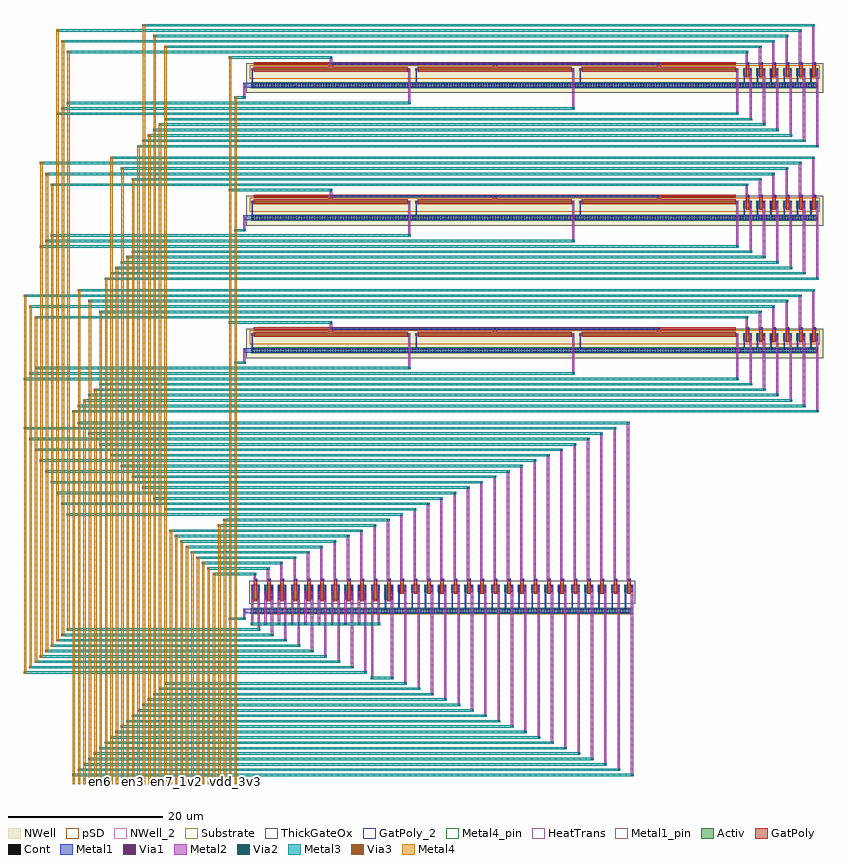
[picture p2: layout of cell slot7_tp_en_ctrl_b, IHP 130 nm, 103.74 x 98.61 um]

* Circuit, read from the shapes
.subckt slot7_tp_en_ctrl_b en0 en0_1v2 en0_b en1 en1_1v2 en1_b en2 en2_1v2 en2_b en3 en3_1v2 en3_b en4 en4_1v2 en4_b en5 en5_1v2 en5_b en6 en6_1v2 en6_b en7 en7_1v2 en7_b en8 en8_1v2 en8_b enable vdd_1v2 vdd_3v3 vss_3v3
XM1 n1 en0_1v2 n2 vss_3v3 sg13_hv_nmos w=2u l=0.45u
XM2 n3 en1_1v2 n2 vss_3v3 sg13_hv_nmos w=2u l=0.45u
XM3 n4 en2_1v2 n2 vss_3v3 sg13_hv_nmos w=2u l=0.45u
XM4 n5 en3_1v2 n2 vss_3v3 sg13_hv_nmos w=2u l=0.45u
XM5 n6 en4_1v2 n2 vss_3v3 sg13_hv_nmos w=2u l=0.45u
XM6 n7 en5_1v2 n2 vss_3v3 sg13_hv_nmos w=2u l=0.45u
XM7 n8 en6_1v2 n2 vss_3v3 sg13_hv_nmos w=2u l=0.45u
XM8 n9 en7_1v2 n2 vss_3v3 sg13_hv_nmos w=2u l=0.45u
XM9 n10 en8_1v2 n2 vss_3v3 sg13_hv_nmos w=2u l=0.45u
XM10 n2 enable n11 vss_3v3 sg13_hv_nmos w=2u l=0.45u
XM11 n11 vdd_1v2 vss_3v3 vss_3v3 sg13_hv_nmos w=2u l=0.45u
XM12 en0 n1 vss_3v3 vss_3v3 sg13_hv_nmos w=1u l=0.45u
XM13 en0_b en0 vss_3v3 vss_3v3 sg13_hv_nmos w=1u l=0.45u
XM14 en1 n3 vss_3v3 vss_3v3 sg13_hv_nmos w=1u l=0.45u
XM15 en1_b en1 vss_3v3 vss_3v3 sg13_hv_nmos w=1u l=0.45u
XM16 en2 n4 vss_3v3 vss_3v3 sg13_hv_nmos w=1u l=0.45u
XM17 en2_b en2 vss_3v3 vss_3v3 sg13_hv_nmos w=1u l=0.45u
XM18 en3 n5 vss_3v3 vss_3v3 sg13_hv_nmos w=1u l=0.45u
XM19 en3_b en3 vss_3v3 vss_3v3 sg13_hv_nmos w=1u l=0.45u
XM20 en4 n6 vss_3v3 vss_3v3 sg13_hv_nmos w=1u l=0.45u
XM21 en4_b en4 vss_3v3 vss_3v3 sg13_hv_nmos w=1u l=0.45u
XM22 en5 n7 vss_3v3 vss_3v3 sg13_hv_nmos w=1u l=0.45u
XM23 en5_b en5 vss_3v3 vss_3v3 sg13_hv_nmos w=1u l=0.45u
XM24 en6 n8 vss_3v3 vss_3v3 sg13_hv_nmos w=1u l=0.45u
XM25 en6_b en6 vss_3v3 vss_3v3 sg13_hv_nmos w=1u l=0.45u
XM26 en7 n9 vss_3v3 vss_3v3 sg13_hv_nmos w=1u l=0.45u
XM27 en7_b en7 vss_3v3 vss_3v3 sg13_hv_nmos w=1u l=0.45u
XM28 en8 n10 vss_3v3 vss_3v3 sg13_hv_nmos w=1u l=0.45u
XM29 en8_b en8 vss_3v3 vss_3v3 sg13_hv_nmos w=1u l=0.45u
XM30 n8 vss_3v3 vdd_3v3 vdd_3v3 sg13_hv_pmos w=0.3u l=20u
XM31 n5 vss_3v3 vdd_3v3 vdd_3v3 sg13_hv_pmos w=0.3u l=20u
XM32 n1 vss_3v3 vdd_3v3 vdd_3v3 sg13_hv_pmos w=0.3u l=20u
XM33 n9 vss_3v3 vdd_3v3 vdd_3v3 sg13_hv_pmos w=0.3u l=20u
XM34 n6 vss_3v3 vdd_3v3 vdd_3v3 sg13_hv_pmos w=0.3u l=20u
XM35 n3 vss_3v3 vdd_3v3 vdd_3v3 sg13_hv_pmos w=0.3u l=20u
XM36 n10 vss_3v3 vdd_3v3 vdd_3v3 sg13_hv_pmos w=0.3u l=20u
XM37 n7 vss_3v3 vdd_3v3 vdd_3v3 sg13_hv_pmos w=0.3u l=20u
XM38 n4 vss_3v3 vdd_3v3 vdd_3v3 sg13_hv_pmos w=0.3u l=20u
XM39 en6 n8 vdd_3v3 vdd_3v3 sg13_hv_pmos w=1u l=0.45u
XM40 en3 n5 vdd_3v3 vdd_3v3 sg13_hv_pmos w=1u l=0.45u
XM41 en0 n1 vdd_3v3 vdd_3v3 sg13_hv_pmos w=1u l=0.45u
XM42 en6_b en6 vdd_3v3 vdd_3v3 sg13_hv_pmos w=1u l=0.45u
XM43 en3_b en3 vdd_3v3 vdd_3v3 sg13_hv_pmos w=1u l=0.45u
XM44 en0_b en0 vdd_3v3 vdd_3v3 sg13_hv_pmos w=1u l=0.45u
XM45 en7 n9 vdd_3v3 vdd_3v3 sg13_hv_pmos w=1u l=0.45u
XM46 en4 n6 vdd_3v3 vdd_3v3 sg13_hv_pmos w=1u l=0.45u
XM47 en1 n3 vdd_3v3 vdd_3v3 sg13_hv_pmos w=1u l=0.45u
XM48 en7_b en7 vdd_3v3 vdd_3v3 sg13_hv_pmos w=1u l=0.45u
XM49 en4_b en4 vdd_3v3 vdd_3v3 sg13_hv_pmos w=1u l=0.45u
XM50 en1_b en1 vdd_3v3 vdd_3v3 sg13_hv_pmos w=1u l=0.45u
XM51 en8 n10 vdd_3v3 vdd_3v3 sg13_hv_pmos w=1u l=0.45u
XM52 en5 n7 vdd_3v3 vdd_3v3 sg13_hv_pmos w=1u l=0.45u
XM53 en2 n4 vdd_3v3 vdd_3v3 sg13_hv_pmos w=1u l=0.45u
XM54 en8_b en8 vdd_3v3 vdd_3v3 sg13_hv_pmos w=1u l=0.45u
XM55 en5_b en5 vdd_3v3 vdd_3v3 sg13_hv_pmos w=1u l=0.45u
XM56 en2_b en2 vdd_3v3 vdd_3v3 sg13_hv_pmos w=1u l=0.45u
.ends

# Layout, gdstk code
import gdstk
lib = gdstk.Library(unit=1e-6, precision=1e-09)
def R(c, l, rs):  # rectangles x0, y0, x1, y1
    for r in rs: c.add(gdstk.rectangle(r[:2], r[2:], *l))
def A(c, l, x, y, w, h, nx, ny, dx, dy):  # array of equal rectangles
    R(c, l, [(x+i*dx, y+j*dy, x+i*dx+w, y+j*dy+h) for i in range(nx) for j in range(ny)])
Activ = (1, 0)
GatPoly = (5, 0)
GatPoly_2 = (5, 2)
Cont = (6, 0)
Metal1 = (8, 0)
Metal1_pin = (8, 2)
Metal2 = (10, 0)
pSD = (14, 0)
Via1 = (19, 0)
Via2 = (29, 0)
Metal3 = (30, 0)
NWell = (31, 0)
NWell_2 = (31, 2)
Substrate = (40, 0)
ThickGateOx = (44, 0)
Via3 = (49, 0)
Metal4 = (50, 0)
Metal4_pin = (50, 2)
HeatTrans = (51, 0)

slot7_pmoshv = lib.new_cell('slot7_pmosHV')
R(slot7_pmoshv, Activ, [(0,0,0.3,0.3), (0,0,20.68,0.3), (20.38,0,20.68,0.3)])
R(slot7_pmoshv, GatPoly, [(0.34,-0.18,20.34,0.48)])
R(slot7_pmoshv, GatPoly_2, [(0.34,-0.18,20.34,0.48)])
R(slot7_pmoshv, Cont, [(0.07,0.07,0.23,0.23), (20.45,0.07,20.61,0.23)])
R(slot7_pmoshv, Metal1, [(0.07,0,0.23,0.3), (20.45,0,20.61,0.3)])
R(slot7_pmoshv, Metal1_pin, [(0.07,0,0.23,0.3), (20.45,0,20.61,0.3)])
R(slot7_pmoshv, pSD, [(-0.18,-0.4,20.86,0.7)])
R(slot7_pmoshv, NWell, [(-0.62,-0.62,21.3,0.92)])
R(slot7_pmoshv, ThickGateOx, [(-0.62,-0.62,21.3,0.92)])
R(slot7_pmoshv, HeatTrans, [(0.34,-0.18,20.34,0.48)])
slot7_pmoshv.add(gdstk.Label('pmosHV', (10.34,0.15), layer=63, texttype=0))
slot7_pmoshv.add(gdstk.Label('pmos', (10.34,0.15), layer=51, texttype=0))

slot7_pmoshv_1 = lib.new_cell('slot7_pmosHV_1')
R(slot7_pmoshv_1, Activ, [(0,0,0.3,0.3), (0,0,1.13,1), (0.83,0,1.13,0.3)])
R(slot7_pmoshv_1, GatPoly, [(0.34,-0.18,0.79,1.18)])
R(slot7_pmoshv_1, GatPoly_2, [(0.34,-0.18,0.79,1.18)])
A(slot7_pmoshv_1, Cont, 0.07, 0.07, 0.16, 0.16, 1, 3, 0, 0.35)
A(slot7_pmoshv_1, Cont, 0.9, 0.07, 0.16, 0.16, 1, 3, 0, 0.35)
R(slot7_pmoshv_1, Metal1, [(0.07,0,0.23,1), (0.9,0,1.06,1)])
R(slot7_pmoshv_1, Metal1_pin, [(0.07,0,0.23,1), (0.9,0,1.06,1)])
R(slot7_pmoshv_1, pSD, [(-0.18,-0.4,1.31,1.4)])
R(slot7_pmoshv_1, NWell, [(-0.62,-0.62,1.75,1.62)])
R(slot7_pmoshv_1, ThickGateOx, [(-0.62,-0.62,1.75,1.62)])
R(slot7_pmoshv_1, HeatTrans, [(0.34,-0.18,0.79,1.18)])
slot7_pmoshv_1.add(gdstk.Label('pmosHV', (0.565,0.5), layer=63, texttype=0))
slot7_pmoshv_1.add(gdstk.Label('pmos', (0.565,0.5), layer=51, texttype=0))

slot7_ntap1_2 = lib.new_cell('slot7_ntap1_2')
R(slot7_ntap1_2, Activ, [(0,0,73.62,0.78)])
A(slot7_ntap1_2, Cont, 0.18, 0.14, 0.16, 0.16, 216, 2, 0.34, 0.34)
R(slot7_ntap1_2, Metal1, [(0.18,0.09,73.44,0.69)])
R(slot7_ntap1_2, Metal1_pin, [(0.18,0.09,73.44,0.69), (0.18,0.14,73.44,0.64)])
R(slot7_ntap1_2, NWell, [(-0.24,-0.24,73.86,1.02), (0,0,73.62,0.78)])
R(slot7_ntap1_2, NWell_2, [(0,0,73.62,0.78)])
slot7_ntap1_2.add(gdstk.Label('well', (36.81,0.01), layer=31, texttype=0))
slot7_ntap1_2.add(gdstk.Label('well', (36.81,0.01), layer=63, texttype=0))

slot7_tpb_row_p0 = lib.new_cell('slot7_tpb_row_p0')
A(slot7_tpb_row_p0, GatPoly, 10.09, 1, 0.5, 0.43, 3, 1, 21.28, 0)
A(slot7_tpb_row_p0, GatPoly, 64.18, 1, 0.45, 0.43, 6, 1, 1.73, 0)
A(slot7_tpb_row_p0, GatPoly, 64.18, 1.42, 0.45, 0.36, 6, 1, 1.73, 0)
R(slot7_tpb_row_p0, GatPoly, [(0.34,1.42,62.9,1.78)])
A(slot7_tpb_row_p0, Cont, 10.26, 1.52, 0.16, 0.16, 3, 1, 21.28, 0)
A(slot7_tpb_row_p0, Cont, 64.325, 1.52, 0.16, 0.16, 6, 1, 1.73, 0)
A(slot7_tpb_row_p0, Metal1, 0.07, -1.01, 0.16, 1.76, 3, 1, 21.28, 0)
A(slot7_tpb_row_p0, Metal1, 63.91, -1.01, 0.16, 1.06, 6, 1, 1.73, 0)
A(slot7_tpb_row_p0, Metal1, 64.155, 1.47, 0.5, 0.26, 6, 1, 1.73, 0)
R(slot7_tpb_row_p0, Metal1, [(0.07,-1.51,72.72,-0.91), (0.07,0.55,0.23,1), (20.45,0.55,20.61,1), (21.35,0.55,21.51,1), (41.73,0.55,41.89,1), (42.63,0.55,42.79,1), (63.01,0.55,63.17,1), (10.21,1.47,53.03,1.73)])
R(slot7_tpb_row_p0, pSD, [(-0.18,-0.4,73.8,1.4)])
R(slot7_tpb_row_p0, NWell, [(-0.62,-2.22,74.24,1.62)])
R(slot7_tpb_row_p0, ThickGateOx, [(-0.62,-2.22,74.24,1.62)])
slot7_tpb_row_p0.add(gdstk.Reference(slot7_pmoshv, (0,0.7)))
slot7_tpb_row_p0.add(gdstk.Reference(slot7_pmoshv, (21.28,0.7)))
slot7_tpb_row_p0.add(gdstk.Reference(slot7_pmoshv, (42.56,0.7)))
slot7_tpb_row_p0.add(gdstk.Reference(slot7_pmoshv_1, (63.84,0)))
slot7_tpb_row_p0.add(gdstk.Reference(slot7_pmoshv_1, (65.57,0)))
slot7_tpb_row_p0.add(gdstk.Reference(slot7_pmoshv_1, (67.3,0)))
slot7_tpb_row_p0.add(gdstk.Reference(slot7_pmoshv_1, (69.03,0)))
slot7_tpb_row_p0.add(gdstk.Reference(slot7_pmoshv_1, (70.76,0)))
slot7_tpb_row_p0.add(gdstk.Reference(slot7_pmoshv_1, (72.49,0)))
slot7_tpb_row_p0.add(gdstk.Reference(slot7_ntap1_2, (0,-1.6)))
slot7_tpb_row_p0.add(gdstk.Label('PU0', (0,0.85), layer=63, texttype=0))
slot7_tpb_row_p0.add(gdstk.Label('PU1', (21.28,0.85), layer=63, texttype=0))
slot7_tpb_row_p0.add(gdstk.Label('PU2', (42.56,0.85), layer=63, texttype=0))
slot7_tpb_row_p0.add(gdstk.Label('PA0', (63.84,0.5), layer=63, texttype=0))
slot7_tpb_row_p0.add(gdstk.Label('PB0', (65.57,0.5), layer=63, texttype=0))
slot7_tpb_row_p0.add(gdstk.Label('PA1', (67.3,0.5), layer=63, texttype=0))
slot7_tpb_row_p0.add(gdstk.Label('PB1', (69.03,0.5), layer=63, texttype=0))
slot7_tpb_row_p0.add(gdstk.Label('PA2', (70.76,0.5), layer=63, texttype=0))
slot7_tpb_row_p0.add(gdstk.Label('PB2', (72.49,0.5), layer=63, texttype=0))

slot7_tpb_row_p1 = lib.new_cell('slot7_tpb_row_p1')
A(slot7_tpb_row_p1, GatPoly, 10.09, 1, 0.5, 0.43, 3, 1, 21.28, 0)
A(slot7_tpb_row_p1, GatPoly, 64.18, 1, 0.45, 0.43, 6, 1, 1.73, 0)
A(slot7_tpb_row_p1, GatPoly, 64.18, 1.42, 0.45, 0.36, 6, 1, 1.73, 0)
R(slot7_tpb_row_p1, GatPoly, [(0.34,1.42,62.9,1.78)])
A(slot7_tpb_row_p1, Cont, 10.26, 1.52, 0.16, 0.16, 3, 1, 21.28, 0)
A(slot7_tpb_row_p1, Cont, 64.325, 1.52, 0.16, 0.16, 6, 1, 1.73, 0)
A(slot7_tpb_row_p1, Metal1, 0.07, -1.01, 0.16, 1.76, 3, 1, 21.28, 0)
A(slot7_tpb_row_p1, Metal1, 63.91, -1.01, 0.16, 1.06, 6, 1, 1.73, 0)
A(slot7_tpb_row_p1, Metal1, 64.155, 1.47, 0.5, 0.26, 6, 1, 1.73, 0)
R(slot7_tpb_row_p1, Metal1, [(0.07,-1.51,72.72,-0.91), (0.07,0.55,0.23,1), (20.45,0.55,20.61,1), (21.35,0.55,21.51,1), (41.73,0.55,41.89,1), (42.63,0.55,42.79,1), (63.01,0.55,63.17,1), (10.21,1.47,53.03,1.73)])
R(slot7_tpb_row_p1, pSD, [(-0.18,-0.4,73.8,1.4)])
R(slot7_tpb_row_p1, NWell, [(-0.62,-2.22,74.24,1.62)])
R(slot7_tpb_row_p1, ThickGateOx, [(-0.62,-2.22,74.24,1.62)])
slot7_tpb_row_p1.add(gdstk.Reference(slot7_pmoshv, (0,0.7)))
slot7_tpb_row_p1.add(gdstk.Reference(slot7_pmoshv, (21.28,0.7)))
slot7_tpb_row_p1.add(gdstk.Reference(slot7_pmoshv, (42.56,0.7)))
slot7_tpb_row_p1.add(gdstk.Reference(slot7_pmoshv_1, (63.84,0)))
slot7_tpb_row_p1.add(gdstk.Reference(slot7_pmoshv_1, (65.57,0)))
slot7_tpb_row_p1.add(gdstk.Reference(slot7_pmoshv_1, (67.3,0)))
slot7_tpb_row_p1.add(gdstk.Reference(slot7_pmoshv_1, (69.03,0)))
slot7_tpb_row_p1.add(gdstk.Reference(slot7_pmoshv_1, (70.76,0)))
slot7_tpb_row_p1.add(gdstk.Reference(slot7_pmoshv_1, (72.49,0)))
slot7_tpb_row_p1.add(gdstk.Reference(slot7_ntap1_2, (0,-1.6)))
slot7_tpb_row_p1.add(gdstk.Label('PU3', (0,0.85), layer=63, texttype=0))
slot7_tpb_row_p1.add(gdstk.Label('PU4', (21.28,0.85), layer=63, texttype=0))
slot7_tpb_row_p1.add(gdstk.Label('PU5', (42.56,0.85), layer=63, texttype=0))
slot7_tpb_row_p1.add(gdstk.Label('PA3', (63.84,0.5), layer=63, texttype=0))
slot7_tpb_row_p1.add(gdstk.Label('PB3', (65.57,0.5), layer=63, texttype=0))
slot7_tpb_row_p1.add(gdstk.Label('PA4', (67.3,0.5), layer=63, texttype=0))
slot7_tpb_row_p1.add(gdstk.Label('PB4', (69.03,0.5), layer=63, texttype=0))
slot7_tpb_row_p1.add(gdstk.Label('PA5', (70.76,0.5), layer=63, texttype=0))
slot7_tpb_row_p1.add(gdstk.Label('PB5', (72.49,0.5), layer=63, texttype=0))

slot7_tpb_row_p2 = lib.new_cell('slot7_tpb_row_p2')
A(slot7_tpb_row_p2, GatPoly, 10.09, 1, 0.5, 0.43, 3, 1, 21.28, 0)
A(slot7_tpb_row_p2, GatPoly, 64.18, 1, 0.45, 0.43, 6, 1, 1.73, 0)
A(slot7_tpb_row_p2, GatPoly, 64.18, 1.42, 0.45, 0.36, 6, 1, 1.73, 0)
R(slot7_tpb_row_p2, GatPoly, [(0.34,1.42,62.9,1.78)])
A(slot7_tpb_row_p2, Cont, 10.26, 1.52, 0.16, 0.16, 3, 1, 21.28, 0)
A(slot7_tpb_row_p2, Cont, 64.325, 1.52, 0.16, 0.16, 6, 1, 1.73, 0)
A(slot7_tpb_row_p2, Metal1, 0.07, -1.01, 0.16, 1.76, 3, 1, 21.28, 0)
A(slot7_tpb_row_p2, Metal1, 63.91, -1.01, 0.16, 1.06, 6, 1, 1.73, 0)
A(slot7_tpb_row_p2, Metal1, 64.155, 1.47, 0.5, 0.26, 6, 1, 1.73, 0)
R(slot7_tpb_row_p2, Metal1, [(0.07,-1.51,72.72,-0.91), (0.07,0.55,0.23,1), (20.45,0.55,20.61,1), (21.35,0.55,21.51,1), (41.73,0.55,41.89,1), (42.63,0.55,42.79,1), (63.01,0.55,63.17,1), (10.21,1.47,53.03,1.73)])
R(slot7_tpb_row_p2, pSD, [(-0.18,-0.4,73.8,1.4)])
R(slot7_tpb_row_p2, NWell, [(-0.62,-2.22,74.24,1.62)])
R(slot7_tpb_row_p2, ThickGateOx, [(-0.62,-2.22,74.24,1.62)])
slot7_tpb_row_p2.add(gdstk.Reference(slot7_pmoshv, (0,0.7)))
slot7_tpb_row_p2.add(gdstk.Reference(slot7_pmoshv, (21.28,0.7)))
slot7_tpb_row_p2.add(gdstk.Reference(slot7_pmoshv, (42.56,0.7)))
slot7_tpb_row_p2.add(gdstk.Reference(slot7_pmoshv_1, (63.84,0)))
slot7_tpb_row_p2.add(gdstk.Reference(slot7_pmoshv_1, (65.57,0)))
slot7_tpb_row_p2.add(gdstk.Reference(slot7_pmoshv_1, (67.3,0)))
slot7_tpb_row_p2.add(gdstk.Reference(slot7_pmoshv_1, (69.03,0)))
slot7_tpb_row_p2.add(gdstk.Reference(slot7_pmoshv_1, (70.76,0)))
slot7_tpb_row_p2.add(gdstk.Reference(slot7_pmoshv_1, (72.49,0)))
slot7_tpb_row_p2.add(gdstk.Reference(slot7_ntap1_2, (0,-1.6)))
slot7_tpb_row_p2.add(gdstk.Label('PU6', (0,0.85), layer=63, texttype=0))
slot7_tpb_row_p2.add(gdstk.Label('PU7', (21.28,0.85), layer=63, texttype=0))
slot7_tpb_row_p2.add(gdstk.Label('PU8', (42.56,0.85), layer=63, texttype=0))
slot7_tpb_row_p2.add(gdstk.Label('PA6', (63.84,0.5), layer=63, texttype=0))
slot7_tpb_row_p2.add(gdstk.Label('PB6', (65.57,0.5), layer=63, texttype=0))
slot7_tpb_row_p2.add(gdstk.Label('PA7', (67.3,0.5), layer=63, texttype=0))
slot7_tpb_row_p2.add(gdstk.Label('PB7', (69.03,0.5), layer=63, texttype=0))
slot7_tpb_row_p2.add(gdstk.Label('PA8', (70.76,0.5), layer=63, texttype=0))
slot7_tpb_row_p2.add(gdstk.Label('PB8', (72.49,0.5), layer=63, texttype=0))

slot7_nmoshv = lib.new_cell('slot7_nmosHV')
R(slot7_nmoshv, Activ, [(0,0,0.3,0.3), (0,0,1.13,2), (0.83,0,1.13,0.3)])
R(slot7_nmoshv, GatPoly, [(0.34,-0.18,0.79,2.18)])
R(slot7_nmoshv, GatPoly_2, [(0.34,-0.18,0.79,2.18)])
A(slot7_nmoshv, Cont, 0.07, 0.07, 0.16, 0.16, 1, 6, 0, 0.34)
A(slot7_nmoshv, Cont, 0.9, 0.07, 0.16, 0.16, 1, 6, 0, 0.34)
R(slot7_nmoshv, Metal1, [(0.07,0,0.23,2), (0.9,0,1.06,2)])
R(slot7_nmoshv, Metal1_pin, [(0.07,0,0.23,2), (0.9,0,1.06,2)])
R(slot7_nmoshv, ThickGateOx, [(-0.27,-0.52,1.4,2.52)])
R(slot7_nmoshv, HeatTrans, [(0.34,-0.18,0.79,2.18)])
slot7_nmoshv.add(gdstk.Label('nmosHV', (0.565,1), layer=63, texttype=0))
slot7_nmoshv.add(gdstk.Label('nmosHV', (0.565,1), layer=51, texttype=0))

slot7_nmoshv_3 = lib.new_cell('slot7_nmosHV_3')
R(slot7_nmoshv_3, Activ, [(0,0,0.3,0.3), (0,0,1.13,1), (0.83,0,1.13,0.3)])
R(slot7_nmoshv_3, GatPoly, [(0.34,-0.18,0.79,1.18)])
R(slot7_nmoshv_3, GatPoly_2, [(0.34,-0.18,0.79,1.18)])
A(slot7_nmoshv_3, Cont, 0.07, 0.07, 0.16, 0.16, 1, 3, 0, 0.35)
A(slot7_nmoshv_3, Cont, 0.9, 0.07, 0.16, 0.16, 1, 3, 0, 0.35)
R(slot7_nmoshv_3, Metal1, [(0.07,0,0.23,1), (0.9,0,1.06,1)])
R(slot7_nmoshv_3, Metal1_pin, [(0.07,0,0.23,1), (0.9,0,1.06,1)])
R(slot7_nmoshv_3, ThickGateOx, [(-0.27,-0.52,1.4,1.52)])
R(slot7_nmoshv_3, HeatTrans, [(0.34,-0.18,0.79,1.18)])
slot7_nmoshv_3.add(gdstk.Label('nmosHV', (0.565,0.5), layer=63, texttype=0))
slot7_nmoshv_3.add(gdstk.Label('nmosHV', (0.565,0.5), layer=51, texttype=0))

slot7_ptap1_1 = lib.new_cell('slot7_ptap1_1')
R(slot7_ptap1_1, Activ, [(0,0,49.57,0.78)])
A(slot7_ptap1_1, Cont, 0.225, 0.14, 0.16, 0.16, 145, 2, 0.34, 0.34)
R(slot7_ptap1_1, Metal1, [(0.225,0.09,49.345,0.69), (0.225,0.14,49.345,0.64)])
R(slot7_ptap1_1, Metal1_pin, [(0.225,0.14,49.345,0.64)])
R(slot7_ptap1_1, pSD, [(-0.03,-0.03,49.6,0.81)])
R(slot7_ptap1_1, Substrate, [(0,0,49.57,0.78)])
slot7_ptap1_1.add(gdstk.Label('sub!', (24.785,0.01), layer=63, texttype=0))

slot7_tpb_row_n = lib.new_cell('slot7_tpb_row_n')
A(slot7_tpb_row_n, GatPoly, 0.34, 2, 0.45, 0.43, 29, 1, 1.73, 0)
A(slot7_tpb_row_n, GatPoly, 0.34, 2.42, 0.45, 0.36, 29, 1, 1.73, 0)
A(slot7_tpb_row_n, Cont, 0.485, 2.52, 0.16, 0.16, 29, 1, 1.73, 0)
A(slot7_tpb_row_n, Metal1, 19.1, -1.21, 0.16, 2.26, 18, 1, 1.73, 0)
A(slot7_tpb_row_n, Metal1, 0.315, 2.47, 0.5, 0.26, 29, 1, 1.73, 0)
R(slot7_tpb_row_n, Metal1, [(17.37,-1.71,48.67,-1.11), (17.37,-1.21,17.53,0.05)])
R(slot7_tpb_row_n, ThickGateOx, [(-0.27,-0.52,49.84,2.52)])
slot7_tpb_row_n.add(gdstk.Reference(slot7_nmoshv, (0,0)))
slot7_tpb_row_n.add(gdstk.Reference(slot7_nmoshv, (1.73,0)))
slot7_tpb_row_n.add(gdstk.Reference(slot7_nmoshv, (3.46,0)))
slot7_tpb_row_n.add(gdstk.Reference(slot7_nmoshv, (5.19,0)))
slot7_tpb_row_n.add(gdstk.Reference(slot7_nmoshv, (6.92,0)))
slot7_tpb_row_n.add(gdstk.Reference(slot7_nmoshv, (8.65,0)))
slot7_tpb_row_n.add(gdstk.Reference(slot7_nmoshv, (10.38,0)))
slot7_tpb_row_n.add(gdstk.Reference(slot7_nmoshv, (12.11,0)))
slot7_tpb_row_n.add(gdstk.Reference(slot7_nmoshv, (13.84,0)))
slot7_tpb_row_n.add(gdstk.Reference(slot7_nmoshv, (15.57,0)))
slot7_tpb_row_n.add(gdstk.Reference(slot7_nmoshv, (17.3,0)))
slot7_tpb_row_n.add(gdstk.Reference(slot7_nmoshv_3, (19.03,1)))
slot7_tpb_row_n.add(gdstk.Reference(slot7_nmoshv_3, (20.76,1)))
slot7_tpb_row_n.add(gdstk.Reference(slot7_nmoshv_3, (22.49,1)))
slot7_tpb_row_n.add(gdstk.Reference(slot7_nmoshv_3, (24.22,1)))
slot7_tpb_row_n.add(gdstk.Reference(slot7_nmoshv_3, (25.95,1)))
slot7_tpb_row_n.add(gdstk.Reference(slot7_nmoshv_3, (27.68,1)))
slot7_tpb_row_n.add(gdstk.Reference(slot7_nmoshv_3, (29.41,1)))
slot7_tpb_row_n.add(gdstk.Reference(slot7_nmoshv_3, (31.14,1)))
slot7_tpb_row_n.add(gdstk.Reference(slot7_nmoshv_3, (32.87,1)))
slot7_tpb_row_n.add(gdstk.Reference(slot7_nmoshv_3, (34.6,1)))
slot7_tpb_row_n.add(gdstk.Reference(slot7_nmoshv_3, (36.33,1)))
slot7_tpb_row_n.add(gdstk.Reference(slot7_nmoshv_3, (38.06,1)))
slot7_tpb_row_n.add(gdstk.Reference(slot7_nmoshv_3, (39.79,1)))
slot7_tpb_row_n.add(gdstk.Reference(slot7_nmoshv_3, (41.52,1)))
slot7_tpb_row_n.add(gdstk.Reference(slot7_nmoshv_3, (43.25,1)))
slot7_tpb_row_n.add(gdstk.Reference(slot7_nmoshv_3, (44.98,1)))
slot7_tpb_row_n.add(gdstk.Reference(slot7_nmoshv_3, (46.71,1)))
slot7_tpb_row_n.add(gdstk.Reference(slot7_nmoshv_3, (48.44,1)))
slot7_tpb_row_n.add(gdstk.Reference(slot7_ptap1_1, (0,-1.8)))
slot7_tpb_row_n.add(gdstk.Label('NI0', (0,1), layer=63, texttype=0))
slot7_tpb_row_n.add(gdstk.Label('NI1', (1.73,1), layer=63, texttype=0))
slot7_tpb_row_n.add(gdstk.Label('NI2', (3.46,1), layer=63, texttype=0))
slot7_tpb_row_n.add(gdstk.Label('NI3', (5.19,1), layer=63, texttype=0))
slot7_tpb_row_n.add(gdstk.Label('NI4', (6.92,1), layer=63, texttype=0))
slot7_tpb_row_n.add(gdstk.Label('NI5', (8.65,1), layer=63, texttype=0))
slot7_tpb_row_n.add(gdstk.Label('NI6', (10.38,1), layer=63, texttype=0))
slot7_tpb_row_n.add(gdstk.Label('NI7', (12.11,1), layer=63, texttype=0))
slot7_tpb_row_n.add(gdstk.Label('NI8', (13.84,1), layer=63, texttype=0))
slot7_tpb_row_n.add(gdstk.Label('NE', (15.57,1), layer=63, texttype=0))
slot7_tpb_row_n.add(gdstk.Label('NV', (17.3,1), layer=63, texttype=0))
slot7_tpb_row_n.add(gdstk.Label('NA0', (19.03,1.5), layer=63, texttype=0))
slot7_tpb_row_n.add(gdstk.Label('NB0', (20.76,1.5), layer=63, texttype=0))
slot7_tpb_row_n.add(gdstk.Label('NA1', (22.49,1.5), layer=63, texttype=0))
slot7_tpb_row_n.add(gdstk.Label('NB1', (24.22,1.5), layer=63, texttype=0))
slot7_tpb_row_n.add(gdstk.Label('NA2', (25.95,1.5), layer=63, texttype=0))
slot7_tpb_row_n.add(gdstk.Label('NB2', (27.68,1.5), layer=63, texttype=0))
slot7_tpb_row_n.add(gdstk.Label('NA3', (29.41,1.5), layer=63, texttype=0))
slot7_tpb_row_n.add(gdstk.Label('NB3', (31.14,1.5), layer=63, texttype=0))
slot7_tpb_row_n.add(gdstk.Label('NA4', (32.87,1.5), layer=63, texttype=0))
slot7_tpb_row_n.add(gdstk.Label('NB4', (34.6,1.5), layer=63, texttype=0))
slot7_tpb_row_n.add(gdstk.Label('NA5', (36.33,1.5), layer=63, texttype=0))
slot7_tpb_row_n.add(gdstk.Label('NB5', (38.06,1.5), layer=63, texttype=0))
slot7_tpb_row_n.add(gdstk.Label('NA6', (39.79,1.5), layer=63, texttype=0))
slot7_tpb_row_n.add(gdstk.Label('NB6', (41.52,1.5), layer=63, texttype=0))
slot7_tpb_row_n.add(gdstk.Label('NA7', (43.25,1.5), layer=63, texttype=0))
slot7_tpb_row_n.add(gdstk.Label('NB7', (44.98,1.5), layer=63, texttype=0))
slot7_tpb_row_n.add(gdstk.Label('NA8', (46.71,1.5), layer=63, texttype=0))
slot7_tpb_row_n.add(gdstk.Label('NB8', (48.44,1.5), layer=63, texttype=0))

slot7_tp_en_ctrl_b = lib.new_cell('slot7_tp_en_ctrl_b')
A(slot7_tp_en_ctrl_b, Metal1, 19.865, -73.225, 0.29, 0.29, 18, 1, 1.73, 0)
A(slot7_tp_en_ctrl_b, Metal1, 0.32, -72.125, 0.29, 0.29, 29, 1, 1.73, 0)
A(slot7_tp_en_ctrl_b, Metal1, -1.045, -42.49, 2.045, 0.6, 1, 3, 0, 17.2)
A(slot7_tp_en_ctrl_b, Metal1, -1.045, -42.335, 0.29, 0.29, 1, 3, 0, 17.2)
A(slot7_tp_en_ctrl_b, Metal1, 64.675, -40.625, 0.29, 0.29, 6, 3, 1.73, 17.2)
A(slot7_tp_en_ctrl_b, Metal1, 20.385, -40.275, 0.29, 0.29, 3, 3, 21.28, 17.2)
A(slot7_tp_en_ctrl_b, Metal1, 10.215, -39.525, 0.29, 0.29, 1, 3, 0, 17.2)
A(slot7_tp_en_ctrl_b, Metal1, 64.16, -39.525, 0.29, 0.29, 6, 3, 1.73, 17.2)
R(slot7_tp_en_ctrl_b, Metal1, [(-1.045,-76.29,1,-75.69), (-1.045,-76.135,-0.755,-75.845), (0.005,-73.725,0.295,-73.435), (0.835,-73.725,1.125,-73.435), (1.735,-73.725,2.025,-73.435), (2.565,-73.725,2.855,-73.435), (3.465,-73.725,3.755,-73.435), (4.295,-73.725,4.585,-73.435), (5.195,-73.725,5.485,-73.435), (6.025,-73.725,6.315,-73.435), (6.925,-73.725,7.215,-73.435), (7.755,-73.725,8.045,-73.435), (8.655,-73.725,8.945,-73.435), (9.485,-73.725,9.775,-73.435), (10.385,-73.725,10.675,-73.435), (11.215,-73.725,11.505,-73.435), (12.115,-73.725,12.405,-73.435), (12.945,-73.725,13.235,-73.435), (13.845,-73.725,14.135,-73.435), (14.675,-73.725,14.965,-73.435), (15.575,-73.725,15.865,-73.435), (16.405,-73.725,16.695,-73.435), (18.135,-73.725,18.425,-73.435)])
A(slot7_tp_en_ctrl_b, Metal2, 0.005, -77.855, 0.29, 4.42, 9, 1, 1.73, 0)
A(slot7_tp_en_ctrl_b, Metal2, 73.325, -50.245, 0.29, 9.91, 1, 3, 0, 17.2)
A(slot7_tp_en_ctrl_b, Metal2, 71.595, -49.545, 0.29, 9.21, 1, 3, 0, 17.2)
A(slot7_tp_en_ctrl_b, Metal2, 69.865, -48.845, 0.29, 8.51, 1, 3, 0, 17.2)
A(slot7_tp_en_ctrl_b, Metal2, 68.135, -48.145, 0.29, 7.81, 1, 3, 0, 17.2)
A(slot7_tp_en_ctrl_b, Metal2, 66.405, -47.445, 0.29, 7.11, 1, 3, 0, 17.2)
A(slot7_tp_en_ctrl_b, Metal2, 64.675, -46.745, 0.29, 6.41, 1, 3, 0, 17.2)
A(slot7_tp_en_ctrl_b, Metal2, 62.945, -46.045, 0.29, 6.06, 1, 3, 0, 17.2)
A(slot7_tp_en_ctrl_b, Metal2, 41.665, -45.345, 0.29, 5.36, 1, 3, 0, 17.2)
A(slot7_tp_en_ctrl_b, Metal2, 20.385, -44.645, 0.29, 4.66, 1, 3, 0, 17.2)
A(slot7_tp_en_ctrl_b, Metal2, -1.045, -43.945, 0.29, 1.9, 1, 3, 0, 17.2)
A(slot7_tp_en_ctrl_b, Metal2, 10.215, -39.525, 0.29, 1.07, 1, 3, 0, 17.2)
A(slot7_tp_en_ctrl_b, Metal2, 64.16, -39.525, 0.29, 1.77, 1, 3, 0, 17.2)
A(slot7_tp_en_ctrl_b, Metal2, 65.89, -39.525, 0.29, 2.47, 1, 3, 0, 17.2)
A(slot7_tp_en_ctrl_b, Metal2, 67.62, -39.525, 0.29, 3.17, 1, 3, 0, 17.2)
A(slot7_tp_en_ctrl_b, Metal2, 69.35, -39.525, 0.29, 3.87, 1, 3, 0, 17.2)
A(slot7_tp_en_ctrl_b, Metal2, 71.08, -39.525, 0.29, 4.57, 1, 3, 0, 17.2)
A(slot7_tp_en_ctrl_b, Metal2, 72.81, -39.525, 0.29, 5.27, 1, 3, 0, 17.2)
R(slot7_tp_en_ctrl_b, Metal2, [(49.275,-97.455,49.565,-72.935), (47.545,-96.755,47.835,-72.935), (45.815,-96.055,46.105,-72.935), (44.085,-95.355,44.375,-72.935), (42.355,-94.655,42.645,-72.935), (40.625,-93.955,40.915,-72.935), (38.895,-93.255,39.185,-72.935), (37.165,-92.555,37.455,-72.935), (35.435,-91.855,35.725,-72.935), (33.705,-91.155,33.995,-72.935), (31.975,-90.455,32.265,-72.935), (30.245,-89.755,30.535,-72.935), (28.515,-89.055,28.805,-72.935), (26.785,-88.355,27.075,-72.935), (25.055,-87.655,25.345,-72.935), (23.325,-86.955,23.615,-72.935), (21.595,-86.255,21.885,-72.935), (19.865,-85.555,20.155,-72.935), (15.575,-84.855,15.865,-73.435), (18.135,-84.855,18.425,-73.435), (14.675,-84.155,14.965,-73.435), (12.945,-83.455,13.235,-73.435), (11.215,-82.755,11.505,-73.435), (9.485,-82.055,9.775,-73.435), (7.755,-81.355,8.045,-73.435), (6.025,-80.655,6.315,-73.435), (4.295,-79.955,4.585,-73.435), (2.565,-79.255,2.855,-73.435), (0.835,-78.555,1.125,-73.435), (16.405,-77.855,16.695,-73.435), (-1.045,-77.155,-0.755,-75.845), (0.32,-72.125,0.61,-71.055), (2.05,-72.125,2.34,-70.355), (3.78,-72.125,4.07,-69.655), (5.51,-72.125,5.8,-68.955), (7.24,-72.125,7.53,-68.255), (8.97,-72.125,9.26,-67.555), (10.7,-72.125,10.99,-66.855), (12.43,-72.125,12.72,-66.155), (14.16,-72.125,14.45,-65.455), (15.89,-72.125,16.18,-64.755), (17.62,-72.125,17.91,-64.055), (19.35,-72.125,19.64,-63.355), (21.08,-72.125,21.37,-62.655), (22.81,-72.125,23.1,-61.955), (24.54,-72.125,24.83,-61.255), (26.27,-72.125,26.56,-60.555), (28,-72.125,28.29,-59.855), (29.73,-72.125,30.02,-59.155), (31.46,-72.125,31.75,-58.455), (33.19,-72.125,33.48,-57.755), (34.92,-72.125,35.21,-57.055), (36.65,-72.125,36.94,-56.355), (38.38,-72.125,38.67,-55.655), (40.11,-72.125,40.4,-54.955), (41.84,-72.125,42.13,-54.255), (43.57,-72.125,43.86,-53.555), (45.3,-72.125,45.59,-52.855), (47.03,-72.125,47.32,-52.155), (48.76,-72.125,49.05,-51.455)])
A(slot7_tp_en_ctrl_b, Via1, 19.915, -73.175, 0.19, 0.19, 18, 1, 1.73, 0)
A(slot7_tp_en_ctrl_b, Via1, 0.37, -72.075, 0.19, 0.19, 29, 1, 1.73, 0)
A(slot7_tp_en_ctrl_b, Via1, -0.995, -42.285, 0.19, 0.19, 1, 3, 0, 17.2)
A(slot7_tp_en_ctrl_b, Via1, 64.725, -40.575, 0.19, 0.19, 6, 3, 1.73, 17.2)
A(slot7_tp_en_ctrl_b, Via1, 20.435, -40.225, 0.19, 0.19, 3, 3, 21.28, 17.2)
A(slot7_tp_en_ctrl_b, Via1, 10.265, -39.475, 0.19, 0.19, 1, 3, 0, 17.2)
A(slot7_tp_en_ctrl_b, Via1, 64.21, -39.475, 0.19, 0.19, 6, 3, 1.73, 17.2)
R(slot7_tp_en_ctrl_b, Via1, [(-0.995,-76.085,-0.805,-75.895), (0.055,-73.675,0.245,-73.485), (0.885,-73.675,1.075,-73.485), (1.785,-73.675,1.975,-73.485), (2.615,-73.675,2.805,-73.485), (3.515,-73.675,3.705,-73.485), (4.345,-73.675,4.535,-73.485), (5.245,-73.675,5.435,-73.485), (6.075,-73.675,6.265,-73.485), (6.975,-73.675,7.165,-73.485), (7.805,-73.675,7.995,-73.485), (8.705,-73.675,8.895,-73.485), (9.535,-73.675,9.725,-73.485), (10.435,-73.675,10.625,-73.485), (11.265,-73.675,11.455,-73.485), (12.165,-73.675,12.355,-73.485), (12.995,-73.675,13.185,-73.485), (13.895,-73.675,14.085,-73.485), (14.725,-73.675,14.915,-73.485), (15.625,-73.675,15.815,-73.485), (16.455,-73.675,16.645,-73.485), (18.185,-73.675,18.375,-73.485)])
A(slot7_tp_en_ctrl_b, Via2, 0.055, -77.805, 0.19, 0.19, 9, 1, 1.73, 0)
A(slot7_tp_en_ctrl_b, Via2, 73.375, -50.195, 0.19, 0.19, 1, 3, 0, 17.2)
A(slot7_tp_en_ctrl_b, Via2, 71.645, -49.495, 0.19, 0.19, 1, 3, 0, 17.2)
A(slot7_tp_en_ctrl_b, Via2, 69.915, -48.795, 0.19, 0.19, 1, 3, 0, 17.2)
A(slot7_tp_en_ctrl_b, Via2, 68.185, -48.095, 0.19, 0.19, 1, 3, 0, 17.2)
A(slot7_tp_en_ctrl_b, Via2, 66.455, -47.395, 0.19, 0.19, 1, 3, 0, 17.2)
A(slot7_tp_en_ctrl_b, Via2, 64.725, -46.695, 0.19, 0.19, 1, 3, 0, 17.2)
A(slot7_tp_en_ctrl_b, Via2, 62.995, -45.995, 0.19, 0.19, 1, 3, 0, 17.2)
A(slot7_tp_en_ctrl_b, Via2, 41.715, -45.295, 0.19, 0.19, 1, 3, 0, 17.2)
A(slot7_tp_en_ctrl_b, Via2, 20.435, -44.595, 0.19, 0.19, 1, 3, 0, 17.2)
A(slot7_tp_en_ctrl_b, Via2, -0.995, -43.895, 0.19, 0.19, 1, 3, 0, 17.2)
A(slot7_tp_en_ctrl_b, Via2, 10.265, -38.695, 0.19, 0.19, 1, 3, 0, 17.2)
A(slot7_tp_en_ctrl_b, Via2, 64.21, -37.995, 0.19, 0.19, 1, 3, 0, 17.2)
A(slot7_tp_en_ctrl_b, Via2, 65.94, -37.295, 0.19, 0.19, 1, 3, 0, 17.2)
A(slot7_tp_en_ctrl_b, Via2, 67.67, -36.595, 0.19, 0.19, 1, 3, 0, 17.2)
A(slot7_tp_en_ctrl_b, Via2, 69.4, -35.895, 0.19, 0.19, 1, 3, 0, 17.2)
A(slot7_tp_en_ctrl_b, Via2, 71.13, -35.195, 0.19, 0.19, 1, 3, 0, 17.2)
A(slot7_tp_en_ctrl_b, Via2, 72.86, -34.495, 0.19, 0.19, 1, 3, 0, 17.2)
R(slot7_tp_en_ctrl_b, Via2, [(49.325,-97.405,49.515,-97.215), (47.595,-96.705,47.785,-96.515), (45.865,-96.005,46.055,-95.815), (44.135,-95.305,44.325,-95.115), (42.405,-94.605,42.595,-94.415), (40.675,-93.905,40.865,-93.715), (38.945,-93.205,39.135,-93.015), (37.215,-92.505,37.405,-92.315), (35.485,-91.805,35.675,-91.615), (33.755,-91.105,33.945,-90.915), (32.025,-90.405,32.215,-90.215), (30.295,-89.705,30.485,-89.515), (28.565,-89.005,28.755,-88.815), (26.835,-88.305,27.025,-88.115), (25.105,-87.605,25.295,-87.415), (23.375,-86.905,23.565,-86.715), (21.645,-86.205,21.835,-86.015), (19.915,-85.505,20.105,-85.315), (15.625,-84.805,15.815,-84.615), (18.185,-84.805,18.375,-84.615), (14.725,-84.105,14.915,-83.915), (12.995,-83.405,13.185,-83.215), (11.265,-82.705,11.455,-82.515), (9.535,-82.005,9.725,-81.815), (7.805,-81.305,7.995,-81.115), (6.075,-80.605,6.265,-80.415), (4.345,-79.905,4.535,-79.715), (2.615,-79.205,2.805,-79.015), (0.885,-78.505,1.075,-78.315), (16.455,-77.805,16.645,-77.615), (-0.995,-77.105,-0.805,-76.915), (0.37,-71.295,0.56,-71.105), (2.1,-70.595,2.29,-70.405), (3.83,-69.895,4.02,-69.705), (5.56,-69.195,5.75,-69.005), (7.29,-68.495,7.48,-68.305), (9.02,-67.795,9.21,-67.605), (10.75,-67.095,10.94,-66.905), (12.48,-66.395,12.67,-66.205), (14.21,-65.695,14.4,-65.505), (15.94,-64.995,16.13,-64.805), (17.67,-64.295,17.86,-64.105), (19.4,-63.595,19.59,-63.405), (21.13,-62.895,21.32,-62.705), (22.86,-62.195,23.05,-62.005), (24.59,-61.495,24.78,-61.305), (26.32,-60.795,26.51,-60.605), (28.05,-60.095,28.24,-59.905), (29.78,-59.395,29.97,-59.205), (31.51,-58.695,31.7,-58.505), (33.24,-57.995,33.43,-57.805), (34.97,-57.295,35.16,-57.105), (36.7,-56.595,36.89,-56.405), (38.43,-55.895,38.62,-55.705), (40.16,-55.195,40.35,-55.005), (41.89,-54.495,42.08,-54.305), (43.62,-53.795,43.81,-53.605), (45.35,-53.095,45.54,-52.905), (47.08,-52.395,47.27,-52.205), (48.81,-51.695,49,-51.505)])
A(slot7_tp_en_ctrl_b, Metal3, -2.2, -43.95, 1.5, 0.3, 1, 3, 0, 17.2)
A(slot7_tp_en_ctrl_b, Metal3, -2.9, -38.75, 13.46, 0.3, 1, 3, 0, 17.2)
R(slot7_tp_en_ctrl_b, Metal3, [(-23.2,-97.46,49.62,-97.16), (-22.5,-96.76,47.89,-96.46), (-21.8,-96.06,46.16,-95.76), (-21.1,-95.36,44.43,-95.06), (-20.4,-94.66,42.7,-94.36), (-19.7,-93.96,40.97,-93.66), (-19,-93.26,39.24,-92.96), (-18.3,-92.56,37.51,-92.26), (-17.6,-91.86,35.78,-91.56), (-16.9,-91.16,34.05,-90.86), (-16.2,-90.46,32.32,-90.16), (-15.5,-89.76,30.59,-89.46), (-14.8,-89.06,28.86,-88.76), (-14.1,-88.36,27.13,-88.06), (-13.4,-87.66,25.4,-87.36), (-12.7,-86.96,23.67,-86.66), (-12,-86.26,21.94,-85.96), (-11.3,-85.56,20.21,-85.26), (15.52,-84.86,18.48,-84.56), (-29.5,-84.16,15.02,-83.86), (-28.8,-83.46,13.29,-83.16), (-28.1,-82.76,11.56,-82.46), (-27.4,-82.06,9.83,-81.76), (-26.7,-81.36,8.1,-81.06), (-26,-80.66,6.37,-80.36), (-25.3,-79.96,4.64,-79.66), (-24.6,-79.26,2.91,-78.96), (-23.9,-78.56,1.18,-78.26), (-0.05,-77.86,16.75,-77.56), (-2.9,-77.16,-0.7,-76.86), (-5,-71.35,0.665,-71.05), (-5.7,-70.65,2.395,-70.35), (-6.4,-69.95,4.125,-69.65), (-7.1,-69.25,5.855,-68.95), (-7.8,-68.55,7.585,-68.25), (-8.5,-67.85,9.315,-67.55), (-9.2,-67.15,11.045,-66.85), (-9.9,-66.45,12.775,-66.15), (-10.6,-65.75,14.505,-65.45), (-4.3,-65.05,16.235,-64.75), (-3.6,-64.35,17.965,-64.05), (-23.9,-63.65,19.695,-63.35), (-11.3,-62.95,21.425,-62.65), (-24.6,-62.25,23.155,-61.95), (-12.7,-61.55,24.885,-61.25), (-25.3,-60.85,26.615,-60.55), (-14.1,-60.15,28.345,-59.85), (-26,-59.45,30.075,-59.15), (-15.5,-58.75,31.805,-58.45), (-26.7,-58.05,33.535,-57.75), (-16.9,-57.35,35.265,-57.05), (-27.4,-56.65,36.995,-56.35), (-18.3,-55.95,38.725,-55.65), (-28.1,-55.25,40.455,-54.95), (-19.7,-54.55,42.185,-54.25), (-28.8,-53.85,43.915,-53.55), (-21.1,-53.15,45.645,-52.85), (-29.5,-52.45,47.375,-52.15), (-22.5,-51.75,49.105,-51.45), (-23.2,-50.25,73.67,-49.95), (-22.5,-49.55,71.94,-49.25), (-21.8,-48.85,70.21,-48.55), (-21.1,-48.15,68.48,-47.85), (-20.4,-47.45,66.75,-47.15), (-19.7,-46.75,65.02,-46.45), (-29.5,-46.05,63.29,-45.75), (-28.8,-45.35,42.01,-45.05), (-28.1,-44.65,20.73,-44.35), (-28.1,-38.05,64.505,-37.75), (-19.7,-37.35,66.235,-37.05), (-28.8,-36.65,67.965,-36.35), (-21.1,-35.95,69.695,-35.65), (-29.5,-35.25,71.425,-34.95), (-22.5,-34.55,73.155,-34.25), (-19,-33.05,73.67,-32.75), (-18.3,-32.35,71.94,-32.05), (-17.6,-31.65,70.21,-31.35), (-16.9,-30.95,68.48,-30.65), (-16.2,-30.25,66.75,-29.95), (-15.5,-29.55,65.02,-29.25), (-27.4,-28.85,63.29,-28.55), (-26.7,-28.15,42.01,-27.85), (-26,-27.45,20.73,-27.15), (-26,-20.85,64.505,-20.55), (-15.5,-20.15,66.235,-19.85), (-26.7,-19.45,67.965,-19.15), (-16.9,-18.75,69.695,-18.45), (-27.4,-18.05,71.425,-17.75), (-18.3,-17.35,73.155,-17.05), (-14.8,-15.85,73.67,-15.55), (-14.1,-15.15,71.94,-14.85), (-13.4,-14.45,70.21,-14.15), (-12.7,-13.75,68.48,-13.45), (-12,-13.05,66.75,-12.75), (-11.3,-12.35,65.02,-12.05), (-25.3,-11.65,63.29,-11.35), (-24.6,-10.95,42.01,-10.65), (-23.9,-10.25,20.73,-9.95), (-23.9,-3.65,64.505,-3.35), (-11.3,-2.95,66.235,-2.65), (-24.6,-2.25,67.965,-1.95), (-12.7,-1.55,69.695,-1.25), (-25.3,-0.85,71.425,-0.55), (-14.1,-0.15,73.155,0.15)])
A(slot7_tp_en_ctrl_b, Via3, -2.095, -43.895, 0.19, 0.19, 1, 3, 0, 17.2)
A(slot7_tp_en_ctrl_b, Via3, -2.795, -38.695, 0.19, 0.19, 1, 3, 0, 17.2)
R(slot7_tp_en_ctrl_b, Via3, [(-23.095,-97.405,-22.905,-97.215), (-22.395,-96.705,-22.205,-96.515), (-21.695,-96.005,-21.505,-95.815), (-20.995,-95.305,-20.805,-95.115), (-20.295,-94.605,-20.105,-94.415), (-19.595,-93.905,-19.405,-93.715), (-18.895,-93.205,-18.705,-93.015), (-18.195,-92.505,-18.005,-92.315), (-17.495,-91.805,-17.305,-91.615), (-16.795,-91.105,-16.605,-90.915), (-16.095,-90.405,-15.905,-90.215), (-15.395,-89.705,-15.205,-89.515), (-14.695,-89.005,-14.505,-88.815), (-13.995,-88.305,-13.805,-88.115), (-13.295,-87.605,-13.105,-87.415), (-12.595,-86.905,-12.405,-86.715), (-11.895,-86.205,-11.705,-86.015), (-11.195,-85.505,-11.005,-85.315), (-29.395,-84.105,-29.205,-83.915), (-28.695,-83.405,-28.505,-83.215), (-27.995,-82.705,-27.805,-82.515), (-27.295,-82.005,-27.105,-81.815), (-26.595,-81.305,-26.405,-81.115), (-25.895,-80.605,-25.705,-80.415), (-25.195,-79.905,-25.005,-79.715), (-24.495,-79.205,-24.305,-79.015), (-23.795,-78.505,-23.605,-78.315), (-2.795,-77.105,-2.605,-76.915), (-4.895,-71.295,-4.705,-71.105), (-5.595,-70.595,-5.405,-70.405), (-6.295,-69.895,-6.105,-69.705), (-6.995,-69.195,-6.805,-69.005), (-7.695,-68.495,-7.505,-68.305), (-8.395,-67.795,-8.205,-67.605), (-9.095,-67.095,-8.905,-66.905), (-9.795,-66.395,-9.605,-66.205), (-10.495,-65.695,-10.305,-65.505), (-4.195,-64.995,-4.005,-64.805), (-3.495,-64.295,-3.305,-64.105), (-23.795,-63.595,-23.605,-63.405), (-11.195,-62.895,-11.005,-62.705), (-24.495,-62.195,-24.305,-62.005), (-12.595,-61.495,-12.405,-61.305), (-25.195,-60.795,-25.005,-60.605), (-13.995,-60.095,-13.805,-59.905), (-25.895,-59.395,-25.705,-59.205), (-15.395,-58.695,-15.205,-58.505), (-26.595,-57.995,-26.405,-57.805), (-16.795,-57.295,-16.605,-57.105), (-27.295,-56.595,-27.105,-56.405), (-18.195,-55.895,-18.005,-55.705), (-27.995,-55.195,-27.805,-55.005), (-19.595,-54.495,-19.405,-54.305), (-28.695,-53.795,-28.505,-53.605), (-20.995,-53.095,-20.805,-52.905), (-29.395,-52.395,-29.205,-52.205), (-22.395,-51.695,-22.205,-51.505), (-23.095,-50.195,-22.905,-50.005), (-22.395,-49.495,-22.205,-49.305), (-21.695,-48.795,-21.505,-48.605), (-20.995,-48.095,-20.805,-47.905), (-20.295,-47.395,-20.105,-47.205), (-19.595,-46.695,-19.405,-46.505), (-29.395,-45.995,-29.205,-45.805), (-28.695,-45.295,-28.505,-45.105), (-27.995,-44.595,-27.805,-44.405), (-27.995,-37.995,-27.805,-37.805), (-19.595,-37.295,-19.405,-37.105), (-28.695,-36.595,-28.505,-36.405), (-20.995,-35.895,-20.805,-35.705), (-29.395,-35.195,-29.205,-35.005), (-22.395,-34.495,-22.205,-34.305), (-18.895,-32.995,-18.705,-32.805), (-18.195,-32.295,-18.005,-32.105), (-17.495,-31.595,-17.305,-31.405), (-16.795,-30.895,-16.605,-30.705), (-16.095,-30.195,-15.905,-30.005), (-15.395,-29.495,-15.205,-29.305), (-27.295,-28.795,-27.105,-28.605), (-26.595,-28.095,-26.405,-27.905), (-25.895,-27.395,-25.705,-27.205), (-25.895,-20.795,-25.705,-20.605), (-15.395,-20.095,-15.205,-19.905), (-26.595,-19.395,-26.405,-19.205), (-16.795,-18.695,-16.605,-18.505), (-27.295,-17.995,-27.105,-17.805), (-18.195,-17.295,-18.005,-17.105), (-14.695,-15.795,-14.505,-15.605), (-13.995,-15.095,-13.805,-14.905), (-13.295,-14.395,-13.105,-14.205), (-12.595,-13.695,-12.405,-13.505), (-11.895,-12.995,-11.705,-12.805), (-11.195,-12.295,-11.005,-12.105), (-25.195,-11.595,-25.005,-11.405), (-24.495,-10.895,-24.305,-10.705), (-23.795,-10.195,-23.605,-10.005), (-23.795,-3.595,-23.605,-3.405), (-11.195,-2.895,-11.005,-2.705), (-24.495,-2.195,-24.305,-2.005), (-12.595,-1.495,-12.405,-1.305), (-25.195,-0.795,-25.005,-0.605), (-13.995,-0.095,-13.805,0.095)])
R(slot7_tp_en_ctrl_b, Metal4, [(-23.15,-98.46,-22.85,-49.95), (-22.45,-98.46,-22.15,-34.25), (-21.75,-98.46,-21.45,-48.55), (-21.05,-98.46,-20.75,-35.65), (-20.35,-98.46,-20.05,-47.15), (-19.65,-98.46,-19.35,-37.05), (-18.95,-98.46,-18.65,-32.75), (-18.25,-98.46,-17.95,-17.05), (-17.55,-98.46,-17.25,-31.35), (-16.85,-98.46,-16.55,-18.45), (-16.15,-98.46,-15.85,-29.95), (-15.45,-98.46,-15.15,-19.85), (-14.75,-98.46,-14.45,-15.55), (-14.05,-98.46,-13.75,0.15), (-13.35,-98.46,-13.05,-14.15), (-12.65,-98.46,-12.35,-1.25), (-11.95,-98.46,-11.65,-12.75), (-11.25,-98.46,-10.95,-2.65), (-10.55,-98.46,-10.25,-65.45), (-9.85,-98.46,-9.55,-66.15), (-9.15,-98.46,-8.85,-66.85), (-8.45,-98.46,-8.15,-67.55), (-7.75,-98.46,-7.45,-68.25), (-7.05,-98.46,-6.75,-68.95), (-6.35,-98.46,-6.05,-69.65), (-5.65,-98.46,-5.35,-70.35), (-4.95,-98.46,-4.65,-71.05), (-4.25,-98.46,-3.95,-64.75), (-3.55,-98.46,-3.25,-64.05), (-2.85,-98.46,-2.55,-4.05), (-2.15,-98.46,-1.85,-9.25), (-29.45,-84.16,-29.15,-34.95), (-28.75,-83.46,-28.45,-36.35), (-28.05,-82.76,-27.75,-37.75), (-27.35,-82.06,-27.05,-17.75), (-26.65,-81.36,-26.35,-19.15), (-25.95,-80.66,-25.65,-20.55), (-25.25,-79.96,-24.95,-0.55), (-24.55,-79.26,-24.25,-1.95), (-23.85,-78.56,-23.55,-3.35)])
A(slot7_tp_en_ctrl_b, Metal4_pin, -23.15, -98.46, 0.3, 0.65, 31, 1, 0.7, 0)
slot7_tp_en_ctrl_b.add(gdstk.Reference(slot7_tpb_row_p0, (0,-6.58)))
slot7_tp_en_ctrl_b.add(gdstk.Reference(slot7_tpb_row_p1, (0,-23.78)))
slot7_tp_en_ctrl_b.add(gdstk.Reference(slot7_tpb_row_p2, (0,-40.98)))
slot7_tp_en_ctrl_b.add(gdstk.Reference(slot7_tpb_row_n, (0,-74.58)))
slot7_tp_en_ctrl_b.add(gdstk.Label('vdd_3v3', (-2,-98.11), layer=50, texttype=25))
slot7_tp_en_ctrl_b.add(gdstk.Label('vss_3v3', (-2.7,-98.11), layer=50, texttype=25))
slot7_tp_en_ctrl_b.add(gdstk.Label('vdd_1v2', (-3.4,-98.11), layer=50, texttype=25))
slot7_tp_en_ctrl_b.add(gdstk.Label('enable', (-4.1,-98.11), layer=50, texttype=25))
slot7_tp_en_ctrl_b.add(gdstk.Label('en0_1v2', (-4.8,-98.11), layer=50, texttype=25))
slot7_tp_en_ctrl_b.add(gdstk.Label('en1_1v2', (-5.5,-98.11), layer=50, texttype=25))
slot7_tp_en_ctrl_b.add(gdstk.Label('en2_1v2', (-6.2,-98.11), layer=50, texttype=25))
slot7_tp_en_ctrl_b.add(gdstk.Label('en3_1v2', (-6.9,-98.11), layer=50, texttype=25))
slot7_tp_en_ctrl_b.add(gdstk.Label('en4_1v2', (-7.6,-98.11), layer=50, texttype=25))
slot7_tp_en_ctrl_b.add(gdstk.Label('en5_1v2', (-8.3,-98.11), layer=50, texttype=25))
slot7_tp_en_ctrl_b.add(gdstk.Label('en6_1v2', (-9,-98.11), layer=50, texttype=25))
slot7_tp_en_ctrl_b.add(gdstk.Label('en7_1v2', (-9.7,-98.11), layer=50, texttype=25))
slot7_tp_en_ctrl_b.add(gdstk.Label('en8_1v2', (-10.4,-98.11), layer=50, texttype=25))
slot7_tp_en_ctrl_b.add(gdstk.Label('en0', (-11.1,-98.11), layer=50, texttype=25))
slot7_tp_en_ctrl_b.add(gdstk.Label('en0_b', (-11.8,-98.11), layer=50, texttype=25))
slot7_tp_en_ctrl_b.add(gdstk.Label('en1', (-12.5,-98.11), layer=50, texttype=25))
slot7_tp_en_ctrl_b.add(gdstk.Label('en1_b', (-13.2,-98.11), layer=50, texttype=25))
slot7_tp_en_ctrl_b.add(gdstk.Label('en2', (-13.9,-98.11), layer=50, texttype=25))
slot7_tp_en_ctrl_b.add(gdstk.Label('en2_b', (-14.6,-98.11), layer=50, texttype=25))
slot7_tp_en_ctrl_b.add(gdstk.Label('en3', (-15.3,-98.11), layer=50, texttype=25))
slot7_tp_en_ctrl_b.add(gdstk.Label('en3_b', (-16,-98.11), layer=50, texttype=25))
slot7_tp_en_ctrl_b.add(gdstk.Label('en4', (-16.7,-98.11), layer=50, texttype=25))
slot7_tp_en_ctrl_b.add(gdstk.Label('en4_b', (-17.4,-98.11), layer=50, texttype=25))
slot7_tp_en_ctrl_b.add(gdstk.Label('en5', (-18.1,-98.11), layer=50, texttype=25))
slot7_tp_en_ctrl_b.add(gdstk.Label('en5_b', (-18.8,-98.11), layer=50, texttype=25))
slot7_tp_en_ctrl_b.add(gdstk.Label('en6', (-19.5,-98.11), layer=50, texttype=25))
slot7_tp_en_ctrl_b.add(gdstk.Label('en6_b', (-20.2,-98.11), layer=50, texttype=25))
slot7_tp_en_ctrl_b.add(gdstk.Label('en7', (-20.9,-98.11), layer=50, texttype=25))
slot7_tp_en_ctrl_b.add(gdstk.Label('en7_b', (-21.6,-98.11), layer=50, texttype=25))
slot7_tp_en_ctrl_b.add(gdstk.Label('en8', (-22.3,-98.11), layer=50, texttype=25))
slot7_tp_en_ctrl_b.add(gdstk.Label('en8_b', (-23,-98.11), layer=50, texttype=25))

lib.write_gds('slot7_tp_en_ctrl_b.gds')
